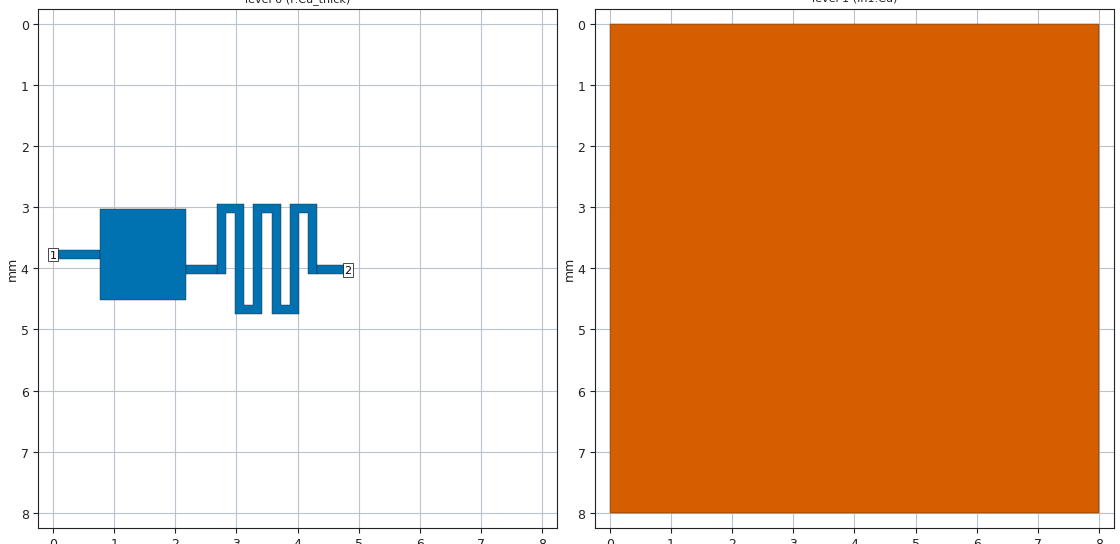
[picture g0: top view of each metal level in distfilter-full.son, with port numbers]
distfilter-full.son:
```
FTYP SONPROJ 19 ! Sonnet Project File
VER 18.56
HEADER
LIC antikernel2.1.51813
DAT 10/20/2022 22:32:57
BUILT_BY_CREATED xgeom 18.54 09/23/2022 20:17:08
BUILT_BY_SAVED sonnet 18.56
MDATE 10/20/2022 22:32:57
HDATE 10/20/2022 22:32:57
ANN Created by dxfgeo, Sonnet Software Inc.
END HEADER
DIM
ANG DEG
CAP FF
CON /OH
FREQ GHZ
IND PH
LNG MM
RES OH
END DIM
CONTROL
VARSWP
OPTIONS  -dj
SPEED 0
CACHE_ABS 2
Q_ACC N
END CONTROL
GEO
TMET "Free Space" 0 FREESPACE 376.7303136 0 0 0
BMET "Free Space" 0 FREESPACE 376.7303136 0 0 0
MET "Copper_1oz+plated_thick_up" 1 TMM 58000000 0.5 0.0432 2
MET "Copper_1oz+plated_thin" 4 NOR 58000000 0.5 0.0432 
MET "Copper_0.5oz_thin" 2 NOR 58000000 0.5 0.0175 
MET "Copper_1oz+plated_thick_down" 3 TMM 58000000 0.5 0.0432 2 CDVY TDWN
MET "Copper 35um" 1 VOL 58000000 0.035
BOX 4 4.825 8 386 640 20 0
      10 1 1 0 0 0 0 "Air"
      0.2021 3.61 1 0.0092 0 0 0 "Isola_FR408HR"
      1.1938 3.61 1 0.0092 0 0 0 "Isola_FR408HR"
      0.2021 3.61 1 0.0092 0 0 0 "Isola_FR408HR"
      10 1 1 0 0 0 0 "Air"
TECHLAY VIA Via1 L3D0 -7 -65534 CAD Via1 drawing 
VIA POLYGON
0 0 4 N 587 1 1 100 100 0 0 0 Y
TOLEVEL 3 RING NOCOVERS
END
END
TECHLAY METAL F.Cu_thick L1D0 -1 -65534 CAD F.Cu drawing 
0 0 0 N 388 1 1 100 100 0 0 0 Y
END
END
TECHLAY METAL F.Cu_thin <UNSPECIFIED> -2 -65534 CAD F.Cu_thin drawing 
0 0 1 N 394 1 1 100 100 0 0 0 Y
END
END
TECHLAY METAL In1.Cu L2D0 -3 -65534 CAD In1.Cu drawing 
1 0 2 N 397 1 1 100 100 0 0 0 Y
END
END
TECHLAY METAL In2.Cu <UNSPECIFIED> -4 -65534 CAD In2.Cu drawing 
2 0 2 N 400 1 1 100 100 0 0 0 Y
END
END
TECHLAY METAL B.Cu_thin <UNSPECIFIED> -6 -65534 CAD B.Cu_thin drawing 
3 0 1 N 403 1 1 100 100 0 0 0 Y
END
END
TECHLAY METAL B.Cu_thick <UNSPECIFIED> -5 -65534 CAD B.Cu drawing 
3 0 3 N 405 1 1 100 100 0 0 0 Y
END
END
DIM STD YDIR -1
POS -0.3455796718 -0.1344317981
NOM 0.15
REF1 POLY 564 1
3
REF2 POLY 564 1
0
END
DIM STD YDIR -1
POS -0.3455796718 -0.1344317981
NOM 1.5
REF1 POLY 568 1
3
REF2 POLY 568 1
0
END
LORGN 0 8 U 
POR1 BOX
POLY 564 1
3
1 50 0 0 0 -1.110223025e-16 3.775 
POR1 BOX
POLY 581 1
1
2 50 0 0 0 4.825 4.025 
CUPGRP "A"
ID 573
END
NUM 6
0 5 0 N 564 1 1 100 100 0 0 0 Y
TLAYNAM F.Cu_thick INH
-1.110223025e-16 3.7
0.775 3.7
0.775 3.85
-1.110223025e-16 3.85
-1.110223025e-16 3.7
END
0 5 0 N 568 1 1 100 100 0 0 0 Y
TLAYNAM F.Cu_thick INH
0.775 3.025
2.175 3.025
2.175 4.525
0.775 4.525
0.775 3.025
END
0 25 0 N 572 1 1 100 100 0 0 0 Y
TLAYNAM F.Cu_thick INH
2.825 4.1
2.825 3.1
2.975 3.1
2.975 4.75
3.425 4.75
3.425 3.1
3.575 3.1
3.575 4.75
4.025 4.75
4.025 3.1
4.175 3.1
4.175 4.1
4.325 4.1
4.325 2.95
3.875 2.95
3.875 4.6
3.725 4.6
3.725 2.95
3.275 2.95
3.275 4.6
3.125 4.6
3.125 2.95
2.675 2.95
2.675 4.1
2.825 4.1
END
0 5 0 N 580 1 1 100 100 0 0 0 Y
TLAYNAM F.Cu_thick INH
2.175 3.95
2.675 3.95
2.675 4.1
2.175 4.1
2.175 3.95
END
0 5 0 N 581 1 1 100 100 0 0 0 Y
TLAYNAM F.Cu_thick INH
4.325 3.95
4.825 3.95
4.825 4.1
4.325 4.1
4.325 3.95
END
1 5 2 N 83 1 1 100 100 0 0 0 Y
TLAYNAM In1.Cu INH
USER_DAT FromImport
8 0
0 0
0 8
8 8
8 0
END
END GEO
OPT
MAX 100
END OPT
VARSWP
ENABLED Y
FREQ Y AY ABS_ENTRY 0.1 10.0 -1 300 
END
END VARSWP
```
